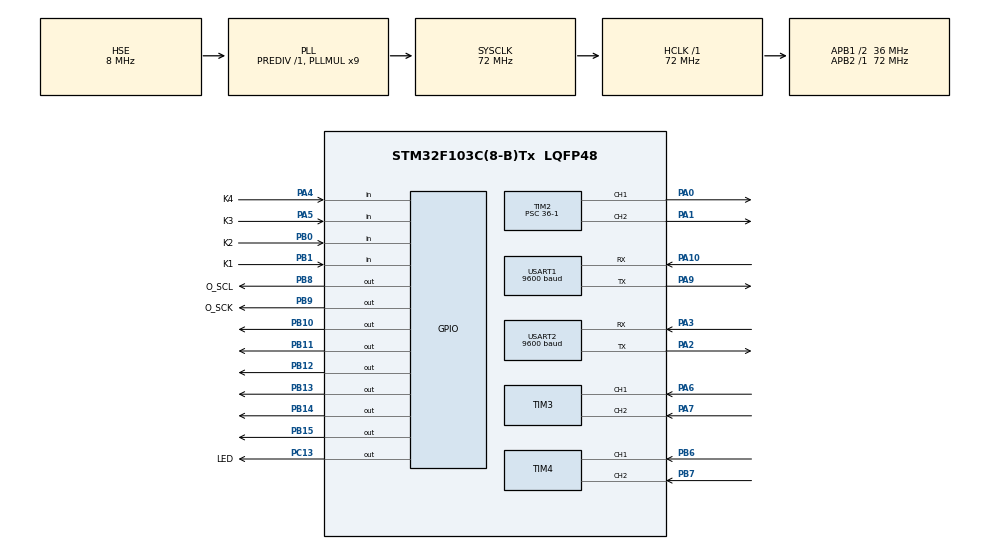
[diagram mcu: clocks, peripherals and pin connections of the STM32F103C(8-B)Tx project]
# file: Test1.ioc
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Mcu.Family=STM32F1
Mcu.Name=STM32F103C(8-B)Tx
Mcu.Package=LQFP48
NVIC.PriorityGroup=NVIC_PRIORITYGROUP_4
NVIC.TIM1_UP_IRQn=true\:0\:0\:false\:false\:true\:true\:true\:true
NVIC.USART1_IRQn=true\:0\:0\:false\:false\:true\:true\:true\:true
NVIC.USART2_IRQn=true\:0\:0\:false\:false\:true\:true\:true\:true
PA0-WKUP.Signal=S_TIM2_CH1_ETR
PA1.Signal=S_TIM2_CH2
PA10.Mode=Asynchronous
PA10.Signal=USART1_RX
PA13.Mode=Serial_Wire
PA13.Signal=SYS_JTMS-SWDIO
PA14.Mode=Serial_Wire
PA14.Signal=SYS_JTCK-SWCLK
PA2.Mode=Asynchronous
PA2.Signal=USART2_TX
PA3.Mode=Asynchronous
PA3.Signal=USART2_RX
PA4.GPIO_Label=K4
PA4.GPIO_PuPd=GPIO_PULLUP
PA4.Signal=GPIO_Input
PA5.GPIO_Label=K3
PA5.GPIO_PuPd=GPIO_PULLUP
PA5.Signal=GPIO_Input
PA6.Signal=S_TIM3_CH1
PA7.Signal=S_TIM3_CH2
PA9.Mode=Asynchronous
PA9.Signal=USART1_TX
PB0.GPIO_Label=K2
PB0.GPIO_PuPd=GPIO_PULLUP
PB0.Signal=GPIO_Input
PB1.GPIO_Label=K1
PB1.GPIO_PuPd=GPIO_PULLUP
PB1.Signal=GPIO_Input
PB10.GPIO_ModeDefaultOutputPP=GPIO_MODE_OUTPUT_OD
PB10.GPIO_PuPd=GPIO_NOPULL
PB10.GPIO_Speed=GPIO_SPEED_FREQ_HIGH
PB10.PinState=GPIO_PIN_SET
PB10.Signal=GPIO_Output
PB11.GPIO_ModeDefaultOutputPP=GPIO_MODE_OUTPUT_OD
PB11.GPIO_PuPd=GPIO_NOPULL
PB11.GPIO_Speed=GPIO_SPEED_FREQ_HIGH
PB11.PinState=GPIO_PIN_SET
PB11.Signal=GPIO_Output
PB12.GPIO_ModeDefaultOutputPP=GPIO_MODE_OUTPUT_PP
PB12.GPIO_PuPd=GPIO_NOPULL
PB12.Signal=GPIO_Output
PB13.Signal=GPIO_Output
PB14.Signal=GPIO_Output
PB15.Signal=GPIO_Output
PB6.Signal=S_TIM4_CH1
PB7.Signal=S_TIM4_CH2
PB8.GPIO_Label=O_SCL
PB8.GPIO_ModeDefaultOutputPP=GPIO_MODE_OUTPUT_OD
PB8.GPIO_PuPd=GPIO_NOPULL
PB8.PinState=GPIO_PIN_SET
PB8.Signal=GPIO_Output
PB9.GPIO_Label=O_SCK
PB9.GPIO_ModeDefaultOutputPP=GPIO_MODE_OUTPUT_OD
PB9.GPIO_PuPd=GPIO_NOPULL
PB9.PinState=GPIO_PIN_SET
PB9.Signal=GPIO_Output
PC13-TAMPER-RTC.GPIO_Label=LED
PC13-TAMPER-RTC.Signal=GPIO_Output
PD0-OSC_IN.Mode=HSE-External-Oscillator
PD0-OSC_IN.Signal=RCC_OSC_IN
PD1-OSC_OUT.Mode=HSE-External-Oscillator
PD1-OSC_OUT.Signal=RCC_OSC_OUT
ProjectManager.HeapSize=0x200
ProjectManager.StackSize=0x400
ProjectManager.TargetToolchain=CMake
RCC.AHBFreq_Value=72000000
RCC.APB1CLKDivider=RCC_HCLK_DIV2
RCC.APB1Freq_Value=36000000
RCC.APB1TimFreq_Value=72000000
RCC.APB2Freq_Value=72000000
RCC.APB2TimFreq_Value=72000000
RCC.HCLKFreq_Value=72000000
RCC.PLLMUL=RCC_PLL_MUL9
RCC.PLLSourceVirtual=RCC_PLLSOURCE_HSE
RCC.SYSCLKFreq_VALUE=72000000
RCC.SYSCLKSource=RCC_SYSCLKSOURCE_PLLCLK
RCC.USBFreq_Value=72000000
SH.S_TIM2_CH1_ETR.0=TIM2_CH1,PWM Generation1 CH1
SH.S_TIM2_CH2.0=TIM2_CH2,PWM Generation2 CH2
SH.S_TIM3_CH1.0=TIM3_CH1,Encoder_Interface
SH.S_TIM3_CH2.0=TIM3_CH2,Encoder_Interface
SH.S_TIM4_CH1.0=TIM4_CH1,Encoder_Interface
SH.S_TIM4_CH2.0=TIM4_CH2,Encoder_Interface
TIM1.Period=1000-1
TIM1.Prescaler=72-1
TIM2.Channel-PWM\ Generation1\ CH1=TIM_CHANNEL_1
TIM2.Channel-PWM\ Generation2\ CH2=TIM_CHANNEL_2
TIM2.Period=100-1
TIM2.Prescaler=36-1
TIM3.EncoderMode=TIM_ENCODERMODE_TI12
TIM3.IC1Filter=15
TIM3.IC2Filter=15
TIM4.EncoderMode=TIM_ENCODERMODE_TI12
TIM4.IC1Filter=15
TIM4.IC2Filter=15
TIM4.IC2Polarity=TIM_ICPOLARITY_FALLING
USART1.BaudRate=9600
USART1.VirtualMode=VM_ASYNC
USART2.BaudRate=9600
USART2.VirtualMode=VM_ASYNC
VP_TIM1_VS_ClockSourceINT.Mode=Internal
VP_TIM2_VS_ClockSourceINT.Mode=Internal
board=custom

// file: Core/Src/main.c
/* USER CODE BEGIN Header */
/**
  ******************************************************************************
  * @file           : main.c
  * @brief          : Main program body
  ******************************************************************************
  * @attention
  *
  * Copyright (c) 2026 STMicroelectronics.
  * All rights reserved.
  *
  * This software is licensed under terms that can be found in the LICENSE file
  * in the root directory of this software component.
  * If no LICENSE file comes with this software, it is provided AS-IS.
  *
  ******************************************************************************
  */
/* USER CODE END Header */
#include "main.h"
#include "tim.h"
#include "usart.h"
#include "gpio.h"

/* USER CODE BEGIN Includes */
#include "OLED.h"
#include "LED.h"
#include "Key.h"
#include "hhMPU6050.h"
#include "hhI2C.h"
#include "hhMotor.h"
#include "hhEncoderSpeed.h"
#include "Serial.h"
#include "math.h"
#include "pid.h"
#include "string.h"
#include "stdlib.h"

/* USER CODE END Includes */

/* USER CODE BEGIN PV */
PID_t AnglePID=
{
  .Kp= 4.98,//7.00,//3.71,//3.4,//3.8,
  .Ki=0.20,//0.00,//0.30,//0.43,//0.21,
  .Kd=4.86,//6.21,//3.48,//3.46,//3.0,

  .OutOffset = 3,
  .OutMax=100,
  .OutMin=-100,

  .ErrorIntMax=200,
  .ErrorIntMin=-200,
};
PID_t SpeedPID=
{
  .Kp=2.70,
  .Ki=0.01,
  .Kd=0,

  .OutMax=20.0,
  .OutMin=-20.0,

  .ErrorIntMax=150,
  .ErrorIntMin=-150,
};

PID_t TurnPID=
{
  .Kp=3.27,
  .Ki=2.16,
  .Kd=0,

  .OutMax=50.0,
  .OutMin=-50.0,

  .ErrorIntMax=20,
  .ErrorIntMin=-20,
};

  uint16_t KeyNum=0;
  uint16_t Num=0;
  int16_t i=0;
  int16_t AX,AY,AZ,GX,GY,GZ;
  int16_t PWML,PWMR;
  float SpeedL,SpeedR;
  float AngleAcc;//加速度传感器测得的角度
  float AngleGyro;//陀螺仪测得的角度
  float Angle;//互补滤波后的角度
  uint16_t TimerCount=0;
  uint8_t RunFlag=0;//运行标志位
  int16_t LeftPWM,RightPWM;
  int16_t AvePWM,DifPWM;

  float LeftSpeed, RightSpeed;		//左速度，右速度
  float AveSpeed, DifSpeed;			//平均速度，差分速度
/* USER CODE END PV */

void SystemClock_Config(void);

int main(void)
{

  /* MCU Configuration--------------------------------------------------------*/

  /* Reset of all peripherals, Initializes the Flash interface and the Systick. */
  HAL_Init();

  /* Configure the system clock */
  SystemClock_Config();

  /* Initialize all configured peripherals */
  MX_GPIO_Init();
  MX_TIM1_Init();
  MX_TIM2_Init();
  MX_TIM3_Init();
  MX_TIM4_Init();
  MX_USART1_UART_Init();
  MX_USART2_UART_Init();
  /* USER CODE BEGIN 2 */
  OLED_Init();
  LED_Init();
  Key_Init();
  LED_OFF();
  MyI2C_Init();
  MPU6050_Init();
  InitMotor();
  InitAllEncoderAll();
  BlueInitAllUSART();
  InitAllUSART(); //启动中断接收一个字节
  HAL_TIM_Base_Start_IT(&htim1);//开启定时器中断
/*   hhSerialSendString("hello");
	Serial_Printf("world"); */

  /* USER CODE END 2 */

  /* Infinite loop */
  /* USER CODE BEGIN WHILE */
  while (1)
  {
    KeyNum=Key_GetNum();
    if(KeyNum==1)
    {
      PID_Init(&AnglePID);
      PID_Init(&SpeedPID);
      PID_Init(&TurnPID);
      RunFlag=!RunFlag;
    }
    if(RunFlag){LED_ON();}else{LED_OFF();}
    if (BlueSerial_RxFlag == 1) {
	  	//strtok strcmp atoi/atof

	  	//收到原始的数据包
	  	char *Tag = strtok(BlueSerial_RxPacket, ",");
	  	if (strcmp(Tag, "key") == 0) {
	  		//收到并处理按键数据包如：[key,1,up]
	  		//char *Name = strtok(NULL, ",");
	  		//char *Action = strtok(NULL, ",");
	  	} else if (strcmp(Tag, "slider") == 0) {
	  		//收到并处理滑杆数据包如：[slider,1,78]
	  		char *Name = strtok(NULL, ",");
	  		char *Value = strtok(NULL, ",");
	  		/*执行滑杆操作*/
	  		if (strcmp(Name, "AngleKp") == 0)			//如果滑杆名称是AngleKp
	  				{
	  			AnglePID.Kp = atof(Value);				//则把滑杆值赋值给角度环Kp
	  		} else if (strcmp(Name, "AngleKi") == 0)		//如果滑杆名称是AngleKi
	  				{
	  			AnglePID.Ki = atof(Value);				//则把滑杆值赋值给角度环Ki
	  		} else if (strcmp(Name, "AngleKd") == 0)		//如果滑杆名称是AngleKd
	  				{
	  			AnglePID.Kd = atof(Value);				//则把滑杆值赋值给角度环Kd
	  		}else if (strcmp(Name, "SpeedKp") == 0)		//如果滑杆名称是SpeedKp
	  		{
	  			SpeedPID.Kp = atof(Value);				//则把滑杆值赋值给速度环Kp
	  		}
	  		else if (strcmp(Name, "SpeedKi") == 0)		//如果滑杆名称是SpeedKi
	  		{
	  			SpeedPID.Ki = atof(Value);				//则把滑杆值赋值给速度环Ki
	  		}
	  		else if (strcmp(Name, "SpeedKd") == 0)		//如果滑杆名称是SpeedKd
	  		{
	  			SpeedPID.Kd = atof(Value);				//则把滑杆值赋值给速度环Kd
	  		}else if (strcmp(Name, "TurnKp") == 0)		//如果滑杆名称是TurnKp
	  		{
	  			TurnPID.Kp = atof(Value);				//则把滑杆值赋值给转向环Kp
	  		}
	  		else if (strcmp(Name, "TurnKi") == 0)		//如果滑杆名称是TurnKi
	  		{
	  			TurnPID.Ki = atof(Value);				//则把滑杆值赋值给转向环Ki
	  		}
	  		else if (strcmp(Name, "TurnKd") == 0)		//如果滑杆名称是TurnKd
	  		{
	  			TurnPID.Kd = atof(Value);				//则把滑杆值赋值给转向环Kd
	  		}else if (strcmp(Name, "Offset") == 0)		//如果滑杆名称是Offset
	  		{
	  			AnglePID.OutOffset = atof(Value);		//则把滑杆值赋值给OutOffset
	  		}
	  	} else if (strcmp(Tag, "joystick") == 0) {
	  		//收到并处理摇杆数据包如：[joystick,-10,20,40,67]
	  		int8_t LH = atoi(strtok(NULL, ","));
	  			int8_t LV = atoi(strtok(NULL, ","));
	  			int8_t RH = atoi(strtok(NULL, ","));
	  			int8_t RV = atoi(strtok(NULL, ","));
	  			SpeedPID.Target = LV / 25.0;		//摇杆值LV缩放后，控制速度环目标值
	  			TurnPID.Target = RH /25.0;			//摇杆值RH缩放后，控制差分PWM，左右转弯控制

	  			(void)LH;   // 显式告诉编译器：我知道它没用
	  			(void)RV;
	  	}
	  	BlueSerial_RxFlag = 0;
	  }
	  /*OLED显示*/
	  OLED_Clear();
	  OLED_Printf(0, 0, OLED_6X8, "  Angle");						//OLED左侧显示角度环参数
	  OLED_Printf(0, 8, OLED_6X8, "P:%05.2f", AnglePID.Kp);		//角度环Kp
	  OLED_Printf(0, 16, OLED_6X8, "I:%05.2f", AnglePID.Ki);		//角度环Ki
	  OLED_Printf(0, 24, OLED_6X8, "D:%05.2f", AnglePID.Kd);		//角度环Kd
	  OLED_Printf(0, 32, OLED_6X8, "T:%+05.1f", AnglePID.Target);	//角度环目标值
	  OLED_Printf(0, 40, OLED_6X8, "A:%+05.1f", Angle);			//角度环实际值
	  OLED_Printf(0, 48, OLED_6X8, "O:%+05.0f", AnglePID.Out);	//角度环输出值
	  OLED_Printf(0, 56, OLED_6X8, "GY:%+05d", GY);				//显示GY，便于校准陀螺仪零漂

	  OLED_Printf(50, 0, OLED_6X8, "Speed");						//OLED中间显示速度环参数
	  OLED_Printf(50, 8, OLED_6X8, "%05.2f", SpeedPID.Kp);		//速度环Kp
	  OLED_Printf(50, 16, OLED_6X8, "%05.2f", SpeedPID.Ki);		//速度环Ki
	  OLED_Printf(50, 24, OLED_6X8, "%05.2f", SpeedPID.Kd);		//速度环Kd
	  OLED_Printf(50, 32, OLED_6X8, "%+05.1f", SpeedPID.Target);	//速度环目标值
	  OLED_Printf(50, 40, OLED_6X8, "%+05.1f", AveSpeed);			//速度环实际值
	  OLED_Printf(50, 48, OLED_6X8, "%+05.0f", SpeedPID.Out);		//速度环输出值
    OLED_Printf(56, 56, OLED_6X8, "Offset:%02.0f", AnglePID.OutOffset); //显示输出偏移值

    OLED_Printf(88, 0, OLED_6X8, "Turn");						//OLED右侧显示转向环参数
	  OLED_Printf(88, 8, OLED_6X8, "%05.2f", TurnPID.Kp);			//转向环Kp
	  OLED_Printf(88, 16, OLED_6X8, "%05.2f", TurnPID.Ki);		//转向环Ki
	  OLED_Printf(88, 24, OLED_6X8, "%05.2f", TurnPID.Kd);		//转向环Kd
	  OLED_Printf(88, 32, OLED_6X8, "%+05.1f", TurnPID.Target);	//转向环目标值
	  OLED_Printf(88, 40, OLED_6X8, "%+05.1f", DifSpeed);			//转向环实际值
	  OLED_Printf(88, 48, OLED_6X8, "%+05.0f", TurnPID.Out);		//转向环输出值
	  OLED_Update();				//OLED更新

//	  BlueSerial_Printf("[plot,%f,%f]", AnglePID.Target, Angle);	//绘制AnglePID.Target和Angle的波形
//	  BlueSerial_Printf("[plot,%f,%f]", SpeedPID.Target, AveSpeed);	//绘制SpeedPID.Target和AveSpeed的波形
//    BlueSerial_Printf("[plot,%f,%f]", TurnPID.Target, DifSpeed);	//绘制TurnPID.Target和DifSpeed的波形
//    BlueSerial_Printf("[plot,%f,%f,%f]",AnglePID.ErrorInt,SpeedPID.ErrorInt,TurnPID.ErrorInt);//绘制三个误差积分的波形

  }
    /* USER CODE END WHILE */

}

void SystemClock_Config(void)
{
  RCC_OscInitTypeDef RCC_OscInitStruct = {0};
  RCC_ClkInitTypeDef RCC_ClkInitStruct = {0};

  /** Initializes the RCC Oscillators according to the specified parameters
  * in the RCC_OscInitTypeDef structure.
  */
  RCC_OscInitStruct.OscillatorType = RCC_OSCILLATORTYPE_HSE;
  RCC_OscInitStruct.HSEState = RCC_HSE_ON;
  RCC_OscInitStruct.HSEPredivValue = RCC_HSE_PREDIV_DIV1;
  RCC_OscInitStruct.HSIState = RCC_HSI_ON;
  RCC_OscInitStruct.PLL.PLLState = RCC_PLL_ON;
  RCC_OscInitStruct.PLL.PLLSource = RCC_PLLSOURCE_HSE;
  RCC_OscInitStruct.PLL.PLLMUL = RCC_PLL_MUL9;
  if (HAL_RCC_OscConfig(&RCC_OscInitStruct) != HAL_OK)
  {
    Error_Handler();
  }

  /** Initializes the CPU, AHB and APB buses clocks
  */
  RCC_ClkInitStruct.ClockType = RCC_CLOCKTYPE_HCLK|RCC_CLOCKTYPE_SYSCLK
                              |RCC_CLOCKTYPE_PCLK1|RCC_CLOCKTYPE_PCLK2;
  RCC_ClkInitStruct.SYSCLKSource = RCC_SYSCLKSOURCE_PLLCLK;
  RCC_ClkInitStruct.AHBCLKDivider = RCC_SYSCLK_DIV1;
  RCC_ClkInitStruct.APB1CLKDivider = RCC_HCLK_DIV2;
  RCC_ClkInitStruct.APB2CLKDivider = RCC_HCLK_DIV1;

  if (HAL_RCC_ClockConfig(&RCC_ClkInitStruct, FLASH_LATENCY_2) != HAL_OK)
  {
    Error_Handler();
  }
}

/* USER CODE BEGIN 4 */
void HAL_TIM_PeriodElapsedCallback(TIM_HandleTypeDef *htim)
  {
    if(htim==&htim1)
    {
      static uint16_t Counter0=0;
      Key_Tick();
      Counter0++;
      if(Counter0>=10)
      {
        Counter0=0;
        MPU6050_GetData(&AX,&AY,&AZ,&GX,&GY,&GZ);
        GY-=-20;//零漂
        AngleAcc=-atan2(AX, AZ)/3.14159*180;
        AngleAcc+=0.0;
        AngleGyro=Angle+GY/32768.0*2000*0.01;
        float Alpha=0.01;
        Angle=Alpha*AngleAcc+(1-Alpha)*AngleGyro;

      if(Angle>50||Angle<-50)
      {
        RunFlag=0;
      }
      if(RunFlag)
      {
        AnglePID.Actual=Angle;
        PID_Update(&AnglePID);
        AvePWM=-AnglePID.Out;
        LeftPWM=AvePWM+DifPWM/2;
        RightPWM=AvePWM-DifPWM/2;

        if(LeftPWM>100){LeftPWM=100;}else if(LeftPWM<-100){LeftPWM=-100;}
        if(RightPWM>100){RightPWM=100;}else if(RightPWM<-100){RightPWM=-100;}
        Motor_SetPWM(1,LeftPWM);
        Motor_SetPWM(2,RightPWM);

      }else
      {
        Motor_SetPWM(1,0);
        Motor_SetPWM(2,0);
      }
      }

      static uint16_t Counter1=0;
      Counter1++;
      if(Counter1>=50)
      {
        Counter1=0;
        LeftSpeed=Encoder_Get(1)/ 44.0 / 0.05 / 9.27666;
        RightSpeed=Encoder_Get(2)/ 44.0 / 0.05 / 9.27666;

        AveSpeed=(LeftSpeed+RightSpeed)/2.0;
        DifSpeed=(LeftSpeed-RightSpeed);

        if(RunFlag)
        {
          SpeedPID.Actual=AveSpeed;
          PID_Update(&SpeedPID);
          AnglePID.Target=SpeedPID.Out;

          TurnPID.Actual=DifSpeed;
          PID_Update(&TurnPID);
          DifPWM=TurnPID.Out;

        }
      }
      TimerCount = __HAL_TIM_GET_COUNTER(&htim1);
    }

  }
/* USER CODE END 4 */

void Error_Handler(void)
{
  __disable_irq();
  while (1)
  {
  }
}
